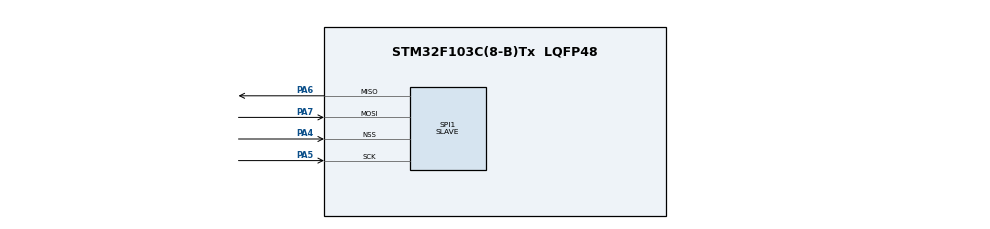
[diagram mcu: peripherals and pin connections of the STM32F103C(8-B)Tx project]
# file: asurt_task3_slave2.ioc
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Mcu.Family=STM32F1
Mcu.Name=STM32F103C(8-B)Tx
Mcu.Package=LQFP48
NVIC.PriorityGroup=NVIC_PRIORITYGROUP_4
PA13.Mode=Serial_Wire
PA13.Signal=SYS_JTMS-SWDIO
PA14.Mode=Serial_Wire
PA14.Signal=SYS_JTCK-SWCLK
PA4.Mode=NSS_Signal_Hard_Input
PA4.Signal=SPI1_NSS
PA5.Mode=Full_Duplex_Slave
PA5.Signal=SPI1_SCK
PA6.Mode=Full_Duplex_Slave
PA6.Signal=SPI1_MISO
PA7.Mode=Full_Duplex_Slave
PA7.Signal=SPI1_MOSI
ProjectManager.HeapSize=0x200
ProjectManager.StackSize=0x400
ProjectManager.TargetToolchain=STM32CubeIDE
RCC.APB1Freq_Value=8000000
RCC.APB2Freq_Value=8000000
SPI1.Direction=SPI_DIRECTION_2LINES
SPI1.Mode=SPI_MODE_SLAVE
SPI1.VirtualNSS=VM_NSSHARD
SPI1.VirtualType=VM_SLAVE
board=custom

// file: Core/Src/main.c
/* USER CODE BEGIN Header */
/**
  ******************************************************************************
  * @file           : main.c slave2
  * @brief          : Main program body
  ******************************************************************************
  * @attention
  *
  * Copyright (c) 2025 STMicroelectronics.
  * All rights reserved.
  *
  * This software is licensed under terms that can be found in the LICENSE file
  * in the root directory of this software component.
  * If no LICENSE file comes with this software, it is provided AS-IS.
  *
  ******************************************************************************
  */
/* USER CODE END Header */
#include "main.h"

SPI_HandleTypeDef hspi1;

void SystemClock_Config(void);
static void MX_GPIO_Init(void);
static void MX_SPI1_Init(void);

/* USER CODE BEGIN 0 */
typedef struct {
		uint16_t case_id;
		float voltage;
		uint16_t wheel_speed;
	}Datasets;

void pack_data(uint8_t * rxbuffer, uint8_t * txbuffer){
	for (int j=0;j<5;j++) txbuffer[j] = rxbuffer[j];
	  Datasets data_array[] = {
	      {0x1001, 12.3, 200},
	      {0x1002, 14.2, 150},
	      {0x1003, 13.8, 100},
	      {0x1004, 11.5, 220},
	      {0x1005, 10.9, 280},
		  {0x1000, 0.0, 0}
	  };
	  uint16_t case_id = ((uint16_t)rxbuffer[0] << 8) | rxbuffer[1];
	  int i;
	  for (i=0; i<6;i++){
		  if (data_array[i].case_id == case_id)break;
	  }
	  uint16_t descaled_voltage = data_array[i].voltage * 4095 / 24.0;
	  uint16_t descaled_wheel_speed = data_array[i].wheel_speed * 4095 / 300;

	  txbuffer[5] = (uint8_t)(descaled_voltage >> 4);
	  txbuffer[6] = (uint8_t)((descaled_voltage & 0x0F) << 4) | (uint8_t)(descaled_wheel_speed >> 8);
	  txbuffer[7] = (uint8_t)(descaled_wheel_speed & 0xFF);

}
/* USER CODE END 0 */

int main(void)
{

  /* MCU Configuration--------------------------------------------------------*/

  /* Reset of all peripherals, Initializes the Flash interface and the Systick. */
  HAL_Init();

  /* Configure the system clock */
  SystemClock_Config();

  /* Initialize all configured peripherals */
  MX_GPIO_Init();
  MX_SPI1_Init();
  /* USER CODE BEGIN 2 */
  hspi1.Init.NSS = SPI_NSS_HARD_INPUT;
  HAL_SPI_Init(&hspi1);
  uint8_t rxbuffer[8] = {0};
  uint8_t txbuffer[8] = {0};

  /* USER CODE END 2 */

  /* Infinite loop */
  /* USER CODE BEGIN WHILE */
  while (1)
  {
	  HAL_SPI_TransmitReceive(&hspi1,txbuffer,rxbuffer,8, HAL_MAX_DELAY);
	  for (int i=0;i<8;i++)
		  txbuffer[i]=0;

	  pack_data(rxbuffer, txbuffer);
	  for (int i=0;i<8;i++)
	  		  rxbuffer[i]=0;

    /* USER CODE END WHILE */

  }
}

void SystemClock_Config(void)
{
  RCC_OscInitTypeDef RCC_OscInitStruct = {0};
  RCC_ClkInitTypeDef RCC_ClkInitStruct = {0};

  /** Initializes the RCC Oscillators according to the specified parameters
  * in the RCC_OscInitTypeDef structure.
  */
  RCC_OscInitStruct.OscillatorType = RCC_OSCILLATORTYPE_HSI;
  RCC_OscInitStruct.HSIState = RCC_HSI_ON;
  RCC_OscInitStruct.HSICalibrationValue = RCC_HSICALIBRATION_DEFAULT;
  RCC_OscInitStruct.PLL.PLLState = RCC_PLL_NONE;
  if (HAL_RCC_OscConfig(&RCC_OscInitStruct) != HAL_OK)
  {
    Error_Handler();
  }

  /** Initializes the CPU, AHB and APB buses clocks
  */
  RCC_ClkInitStruct.ClockType = RCC_CLOCKTYPE_HCLK|RCC_CLOCKTYPE_SYSCLK
                              |RCC_CLOCKTYPE_PCLK1|RCC_CLOCKTYPE_PCLK2;
  RCC_ClkInitStruct.SYSCLKSource = RCC_SYSCLKSOURCE_HSI;
  RCC_ClkInitStruct.AHBCLKDivider = RCC_SYSCLK_DIV1;
  RCC_ClkInitStruct.APB1CLKDivider = RCC_HCLK_DIV1;
  RCC_ClkInitStruct.APB2CLKDivider = RCC_HCLK_DIV1;

  if (HAL_RCC_ClockConfig(&RCC_ClkInitStruct, FLASH_LATENCY_0) != HAL_OK)
  {
    Error_Handler();
  }
}

static void MX_SPI1_Init(void)
{

  /* SPI1 parameter configuration*/
  hspi1.Instance = SPI1;
  hspi1.Init.Mode = SPI_MODE_SLAVE;
  hspi1.Init.Direction = SPI_DIRECTION_2LINES;
  hspi1.Init.DataSize = SPI_DATASIZE_8BIT;
  hspi1.Init.CLKPolarity = SPI_POLARITY_LOW;
  hspi1.Init.CLKPhase = SPI_PHASE_1EDGE;
  hspi1.Init.NSS = SPI_NSS_HARD_INPUT;
  hspi1.Init.FirstBit = SPI_FIRSTBIT_MSB;
  hspi1.Init.TIMode = SPI_TIMODE_DISABLE;
  hspi1.Init.CRCCalculation = SPI_CRCCALCULATION_DISABLE;
  hspi1.Init.CRCPolynomial = 10;
  if (HAL_SPI_Init(&hspi1) != HAL_OK)
  {
    Error_Handler();
  }

}

static void MX_GPIO_Init(void)
{

  /* GPIO Ports Clock Enable */
  __HAL_RCC_GPIOA_CLK_ENABLE();

}

void Error_Handler(void)
{
  __disable_irq();
  while (1)
  {
  }
}
